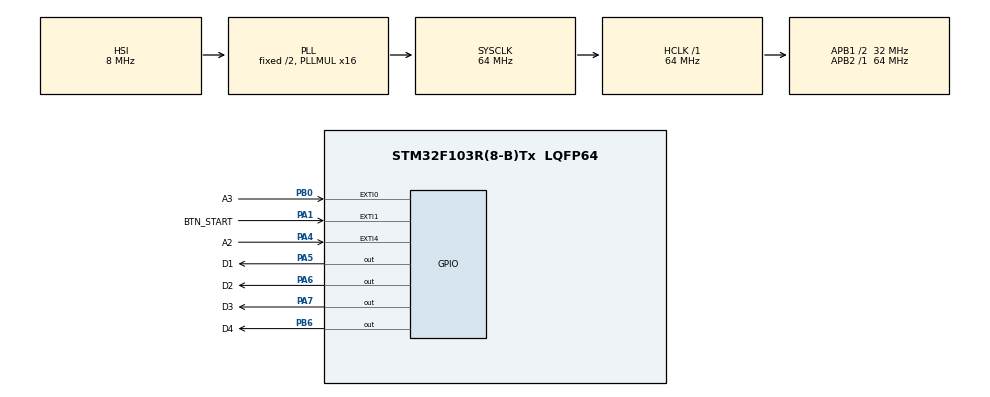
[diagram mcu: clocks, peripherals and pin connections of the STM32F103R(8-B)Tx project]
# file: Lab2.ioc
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Mcu.Family=STM32F1
Mcu.Name=STM32F103R(8-B)Tx
Mcu.Package=LQFP64
NVIC.EXTI0_IRQn=true\:0\:0\:false\:false\:true\:true\:true\:true
NVIC.EXTI1_IRQn=true\:0\:0\:false\:false\:true\:true\:true\:true
NVIC.EXTI4_IRQn=true\:0\:0\:false\:false\:true\:true\:true\:true
NVIC.PriorityGroup=NVIC_PRIORITYGROUP_4
PA1.GPIO_Label=BTN_START
PA1.Signal=GPXTI1
PA13.GPIO_Label=TMS
PA13.Mode=Serial_Wire
PA13.Signal=SYS_JTMS-SWDIO
PA14.GPIO_Label=TCK
PA14.Mode=Serial_Wire
PA14.Signal=SYS_JTCK-SWCLK
PA4.GPIO_Label=A2
PA4.Signal=GPXTI4
PA5.GPIO_Label=D1
PA5.GPIO_ModeDefaultOutputPP=GPIO_MODE_OUTPUT_PP
PA5.GPIO_PuPd=GPIO_NOPULL
PA5.GPIO_Speed=GPIO_SPEED_FREQ_LOW
PA5.PinState=GPIO_PIN_SET
PA5.Signal=GPIO_Output
PA6.GPIO_Label=D2
PA6.PinState=GPIO_PIN_SET
PA6.Signal=GPIO_Output
PA7.GPIO_Label=D3
PA7.PinState=GPIO_PIN_SET
PA7.Signal=GPIO_Output
PB0.GPIO_Label=A3
PB0.Signal=GPXTI0
PB3.GPIO_Label=SWO
PB3.Signal=SYS_JTDO-TRACESWO
PB6.GPIO_Label=D4
PB6.PinState=GPIO_PIN_SET
PB6.Signal=GPIO_Output
PC14-OSC32_IN.Mode=LSE-External-Oscillator
PC14-OSC32_IN.Signal=RCC_OSC32_IN
PC15-OSC32_OUT.Mode=LSE-External-Oscillator
PC15-OSC32_OUT.Signal=RCC_OSC32_OUT
PD0-OSC_IN.Mode=HSE-External-Clock-Source
PD0-OSC_IN.Signal=RCC_OSC_IN
PD1-OSC_OUT.Mode=HSE-External-Clock-Source
PD1-OSC_OUT.Signal=RCC_OSC_OUT
ProjectManager.HeapSize=0x200
ProjectManager.StackSize=0x400
ProjectManager.TargetToolchain=MDK-ARM V5.32
RCC.AHBFreq_Value=64000000
RCC.APB1CLKDivider=RCC_HCLK_DIV2
RCC.APB1Freq_Value=32000000
RCC.APB1TimFreq_Value=64000000
RCC.APB2Freq_Value=64000000
RCC.APB2TimFreq_Value=64000000
RCC.HCLKFreq_Value=64000000
RCC.PLLMUL=RCC_PLL_MUL16
RCC.RTCClockSelection=RCC_RTCCLKSOURCE_LSE
RCC.SYSCLKFreq_VALUE=64000000
RCC.SYSCLKSource=RCC_SYSCLKSOURCE_PLLCLK
RCC.USBFreq_Value=64000000
board=NUCLEO-F103RB

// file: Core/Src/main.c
/* USER CODE BEGIN Header */
/**
  ******************************************************************************
  * @file           : main.c
  * @brief          : Main program body
  ******************************************************************************
  * @attention
  *
  * Copyright (c) 2022 STMicroelectronics.
  * All rights reserved.
  *
  * This software is licensed under terms that can be found in the LICENSE file
  * in the root directory of this software component.
  * If no LICENSE file comes with this software, it is provided AS-IS.
  *
  ******************************************************************************
  */
/* USER CODE END Header */
#include "main.h"

/* USER CODE BEGIN PV */
int speed;
int start_speed;
int coefficient;
int state;
volatile int isRun;
/* USER CODE END PV */

void SystemClock_Config(void);
static void MX_GPIO_Init(void);
/* USER CODE BEGIN PFP */
void State1();
void State2();
void State3();
void State4();
void State5();
void State6();
void State7();
void State8();
void State9();
void State10();
void State11();
void GetState(int state);
/* USER CODE END PFP */

int main(void)
{

  /* MCU Configuration--------------------------------------------------------*/

  /* Reset of all peripherals, Initializes the Flash interface and the Systick. */
  HAL_Init();

  /* Configure the system clock */
  SystemClock_Config();

  /* Initialize all configured peripherals */
  MX_GPIO_Init();

  /* Infinite loop */
  /* USER CODE BEGIN WHILE */
	speed = 1;
	coefficient = 300;
	start_speed = 1000;
	state = 1;
	isRun = 0;
  while (1)
  {

		if(isRun)
		{
			GetState(state);
			if(state == 11) state = 1;
			else state++;
			HAL_Delay(start_speed - speed * coefficient);
		}
    /* USER CODE END WHILE */

  }
}

void SystemClock_Config(void)
{
  RCC_OscInitTypeDef RCC_OscInitStruct = {0};
  RCC_ClkInitTypeDef RCC_ClkInitStruct = {0};

  /** Initializes the RCC Oscillators according to the specified parameters
  * in the RCC_OscInitTypeDef structure.
  */
  RCC_OscInitStruct.OscillatorType = RCC_OSCILLATORTYPE_HSI;
  RCC_OscInitStruct.HSIState = RCC_HSI_ON;
  RCC_OscInitStruct.HSICalibrationValue = RCC_HSICALIBRATION_DEFAULT;
  RCC_OscInitStruct.PLL.PLLState = RCC_PLL_ON;
  RCC_OscInitStruct.PLL.PLLSource = RCC_PLLSOURCE_HSI_DIV2;
  RCC_OscInitStruct.PLL.PLLMUL = RCC_PLL_MUL16;
  if (HAL_RCC_OscConfig(&RCC_OscInitStruct) != HAL_OK)
  {
    Error_Handler();
  }

  /** Initializes the CPU, AHB and APB buses clocks
  */
  RCC_ClkInitStruct.ClockType = RCC_CLOCKTYPE_HCLK|RCC_CLOCKTYPE_SYSCLK
                              |RCC_CLOCKTYPE_PCLK1|RCC_CLOCKTYPE_PCLK2;
  RCC_ClkInitStruct.SYSCLKSource = RCC_SYSCLKSOURCE_PLLCLK;
  RCC_ClkInitStruct.AHBCLKDivider = RCC_SYSCLK_DIV1;
  RCC_ClkInitStruct.APB1CLKDivider = RCC_HCLK_DIV2;
  RCC_ClkInitStruct.APB2CLKDivider = RCC_HCLK_DIV1;

  if (HAL_RCC_ClockConfig(&RCC_ClkInitStruct, FLASH_LATENCY_2) != HAL_OK)
  {
    Error_Handler();
  }
}

static void MX_GPIO_Init(void)
{
  GPIO_InitTypeDef GPIO_InitStruct = {0};

  /* GPIO Ports Clock Enable */
  __HAL_RCC_GPIOC_CLK_ENABLE();
  __HAL_RCC_GPIOD_CLK_ENABLE();
  __HAL_RCC_GPIOA_CLK_ENABLE();
  __HAL_RCC_GPIOB_CLK_ENABLE();

  /*Configure GPIO pin Output Level */
  HAL_GPIO_WritePin(GPIOA, D1_Pin|D2_Pin|D3_Pin, GPIO_PIN_SET);

  /*Configure GPIO pin Output Level */
  HAL_GPIO_WritePin(D4_GPIO_Port, D4_Pin, GPIO_PIN_SET);

  /*Configure GPIO pins : BTN_START_Pin A2_Pin */
  GPIO_InitStruct.Pin = BTN_START_Pin|A2_Pin;
  GPIO_InitStruct.Mode = GPIO_MODE_IT_RISING;
  GPIO_InitStruct.Pull = GPIO_NOPULL;
  HAL_GPIO_Init(GPIOA, &GPIO_InitStruct);

  /*Configure GPIO pins : D1_Pin D2_Pin D3_Pin */
  GPIO_InitStruct.Pin = D1_Pin|D2_Pin|D3_Pin;
  GPIO_InitStruct.Mode = GPIO_MODE_OUTPUT_PP;
  GPIO_InitStruct.Pull = GPIO_NOPULL;
  GPIO_InitStruct.Speed = GPIO_SPEED_FREQ_LOW;
  HAL_GPIO_Init(GPIOA, &GPIO_InitStruct);

  /*Configure GPIO pin : A3_Pin */
  GPIO_InitStruct.Pin = A3_Pin;
  GPIO_InitStruct.Mode = GPIO_MODE_IT_RISING;
  GPIO_InitStruct.Pull = GPIO_NOPULL;
  HAL_GPIO_Init(A3_GPIO_Port, &GPIO_InitStruct);

  /*Configure GPIO pin : D4_Pin */
  GPIO_InitStruct.Pin = D4_Pin;
  GPIO_InitStruct.Mode = GPIO_MODE_OUTPUT_PP;
  GPIO_InitStruct.Pull = GPIO_NOPULL;
  GPIO_InitStruct.Speed = GPIO_SPEED_FREQ_LOW;
  HAL_GPIO_Init(D4_GPIO_Port, &GPIO_InitStruct);

  /* EXTI interrupt init*/
  HAL_NVIC_SetPriority(EXTI0_IRQn, 0, 0);
  HAL_NVIC_EnableIRQ(EXTI0_IRQn);

  HAL_NVIC_SetPriority(EXTI1_IRQn, 0, 0);
  HAL_NVIC_EnableIRQ(EXTI1_IRQn);

  HAL_NVIC_SetPriority(EXTI4_IRQn, 0, 0);
  HAL_NVIC_EnableIRQ(EXTI4_IRQn);

}

/* USER CODE BEGIN 4 */
void State1()
{
  HAL_GPIO_WritePin(D1_GPIO_Port, D1_Pin, GPIO_PIN_SET);
  HAL_GPIO_WritePin(D2_GPIO_Port, D2_Pin, GPIO_PIN_SET);
  HAL_GPIO_WritePin(D3_GPIO_Port, D3_Pin, GPIO_PIN_SET);
  HAL_GPIO_WritePin(D4_GPIO_Port, D4_Pin, GPIO_PIN_SET);
}

void State2()
{
  HAL_GPIO_WritePin(D1_GPIO_Port, D1_Pin, GPIO_PIN_SET);
  HAL_GPIO_WritePin(D2_GPIO_Port, D2_Pin, GPIO_PIN_SET);
  HAL_GPIO_WritePin(D3_GPIO_Port, D3_Pin, GPIO_PIN_SET);
  HAL_GPIO_WritePin(D4_GPIO_Port, D4_Pin, GPIO_PIN_RESET);
}

void State3()
{
  HAL_GPIO_WritePin(D1_GPIO_Port, D1_Pin, GPIO_PIN_SET);
  HAL_GPIO_WritePin(D2_GPIO_Port, D2_Pin, GPIO_PIN_SET);
  HAL_GPIO_WritePin(D3_GPIO_Port, D3_Pin, GPIO_PIN_RESET);
  HAL_GPIO_WritePin(D4_GPIO_Port, D4_Pin, GPIO_PIN_SET);
}

void State4()
{
  HAL_GPIO_WritePin(D1_GPIO_Port, D1_Pin, GPIO_PIN_SET);
  HAL_GPIO_WritePin(D2_GPIO_Port, D2_Pin, GPIO_PIN_RESET);
  HAL_GPIO_WritePin(D3_GPIO_Port, D3_Pin, GPIO_PIN_SET);
  HAL_GPIO_WritePin(D4_GPIO_Port, D4_Pin, GPIO_PIN_SET);
}

void State5()
{
  HAL_GPIO_WritePin(D1_GPIO_Port, D1_Pin, GPIO_PIN_RESET);
  HAL_GPIO_WritePin(D2_GPIO_Port, D2_Pin, GPIO_PIN_SET);
  HAL_GPIO_WritePin(D3_GPIO_Port, D3_Pin, GPIO_PIN_SET);
  HAL_GPIO_WritePin(D4_GPIO_Port, D4_Pin, GPIO_PIN_SET);
}
void State6()
{
  HAL_GPIO_WritePin(D1_GPIO_Port, D1_Pin, GPIO_PIN_RESET);
  HAL_GPIO_WritePin(D2_GPIO_Port, D2_Pin, GPIO_PIN_SET);
  HAL_GPIO_WritePin(D3_GPIO_Port, D3_Pin, GPIO_PIN_SET);
  HAL_GPIO_WritePin(D4_GPIO_Port, D4_Pin, GPIO_PIN_RESET);
}
void State7()
{
  HAL_GPIO_WritePin(D1_GPIO_Port, D1_Pin, GPIO_PIN_RESET);
  HAL_GPIO_WritePin(D2_GPIO_Port, D2_Pin, GPIO_PIN_SET);
  HAL_GPIO_WritePin(D3_GPIO_Port, D3_Pin, GPIO_PIN_RESET);
  HAL_GPIO_WritePin(D4_GPIO_Port, D4_Pin, GPIO_PIN_SET);
}
void State8()
{
  HAL_GPIO_WritePin(D1_GPIO_Port, D1_Pin, GPIO_PIN_RESET);
  HAL_GPIO_WritePin(D2_GPIO_Port, D2_Pin, GPIO_PIN_RESET);
  HAL_GPIO_WritePin(D3_GPIO_Port, D3_Pin, GPIO_PIN_SET);
  HAL_GPIO_WritePin(D4_GPIO_Port, D4_Pin, GPIO_PIN_SET);
}
void State9()
{
  HAL_GPIO_WritePin(D1_GPIO_Port, D1_Pin, GPIO_PIN_RESET);
  HAL_GPIO_WritePin(D2_GPIO_Port, D2_Pin, GPIO_PIN_RESET);
  HAL_GPIO_WritePin(D3_GPIO_Port, D3_Pin, GPIO_PIN_SET);
  HAL_GPIO_WritePin(D4_GPIO_Port, D4_Pin, GPIO_PIN_RESET);
}
void State10()
{
  HAL_GPIO_WritePin(D1_GPIO_Port, D1_Pin, GPIO_PIN_RESET);
  HAL_GPIO_WritePin(D2_GPIO_Port, D2_Pin, GPIO_PIN_RESET);
  HAL_GPIO_WritePin(D3_GPIO_Port, D3_Pin, GPIO_PIN_RESET);
  HAL_GPIO_WritePin(D4_GPIO_Port, D4_Pin, GPIO_PIN_SET);
}
void State11()
{
  HAL_GPIO_WritePin(D1_GPIO_Port, D1_Pin, GPIO_PIN_RESET);
  HAL_GPIO_WritePin(D2_GPIO_Port, D2_Pin, GPIO_PIN_RESET);
  HAL_GPIO_WritePin(D3_GPIO_Port, D3_Pin, GPIO_PIN_RESET);
  HAL_GPIO_WritePin(D4_GPIO_Port, D4_Pin, GPIO_PIN_RESET);
}

void GetState(int state)
{
	switch(state)
	{
		case 1: State1();
						break;
		case 2: State2();
						break;
		case 3: State3();
						break;
		case 4: State4();
						break;
		case 5: State5();
						break;
		case 6: State6();
						break;
		case 7: State7();
						break;
		case 8: State8();
						break;
		case 9: State9();
						break;
		case 10: State10();
						break;
		case 11: State11();
						break;
	}
}
/* USER CODE END 4 */

void Error_Handler(void)
{
  __disable_irq();
  while (1)
  {
  }
}
